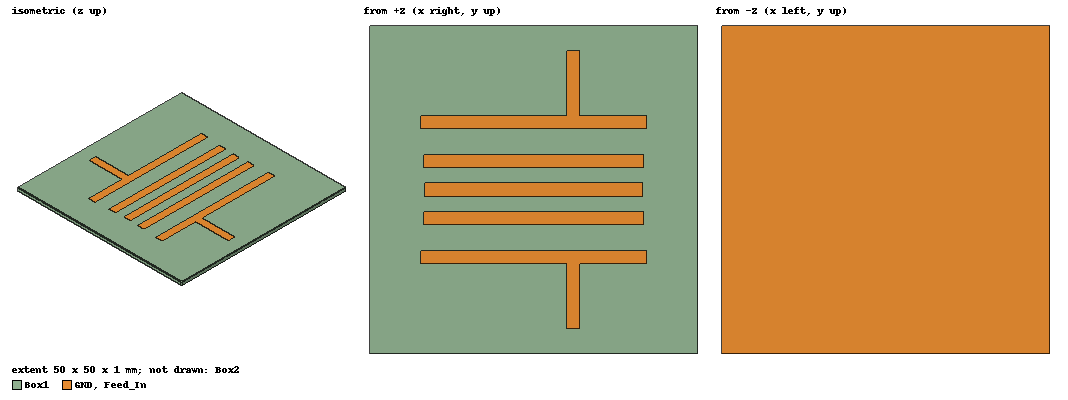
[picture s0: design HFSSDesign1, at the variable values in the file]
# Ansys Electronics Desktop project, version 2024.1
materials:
  vacuum: permittivity=1
  Material1_box: permittivity=2.6

design HFSSDesign1 (HFSS, HFSS Modal Network, model units mm)
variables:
  l1 = 34.396mm
  l2 = 33.681mm
  l3 = 33.311mm
  g1 = 3.893mm
  g2 = 2.341mm
  lq = 11.185mm
  w = 2mm
  sub_t = 1mm
  h = 1mm
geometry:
  Box1 [Material1_box] = box(corner=(-25mm, -25mm, -h), size=(50mm, 50mm, h))
  GND = rectangle(corner=(-25mm, -25mm, -h), x_size=50mm, y_size=50mm)
  Rec3 = rectangle(corner=(-l3/2, -w/2, 0mm), x_size=l3, y_size=w)
  Res2_Top = rectangle(corner=(-l2/2, w/2+g2, 0mm), x_size=l2, y_size=w)
  Res2_Bot = rectangle(corner=(-l2/2, -w/2-g2-w, 0mm), x_size=l2, y_size=w)
  Res_Top = rectangle(corner=(-l1/2, w/2+g2+w+g1, 0mm), x_size=l1, y_size=w)
  Res1_Bot = rectangle(corner=(-l1/2, -w/2-g2-w-g1-w, 0mm), x_size=l1, y_size=w)
  Feed_In = rectangle(corner=(l1/2-lq-w/2, w/2+g2+w+g1+w, 0mm), x_size=w, y_size=10mm)
  Feed_Out = rectangle(corner=(l1/2-lq-w/2, -w/2-g2-w-g1-w, 0mm), x_size=w, y_size=-10mm)
  Feed_In.unite(Feed_Out, Rec3, Res_Top, Res1_Bot, Res2_Bot, Res2_Top)
  Box2 [vacuum] = box(corner=(-30mm, -30mm, -20mm), size=(100mm, 100mm, 40mm))
  Rectangle1 = rectangle(corner=(l1/2-lq-w/2, w/2+g2+w+g1+w+10mm, 0mm), z_size=-h, x_size=w)
  Rectangle2 = rectangle(corner=(l1/2-lq-w/2, -w/2-g2-w-g1-w-10mm, 0mm), z_size=-h, x_size=w)
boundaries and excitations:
  GND: Perfect E Objects=GND
  PerfE1: Perfect E Objects=Feed_In
  Rad1: Radiation Objects=Box2
  1: Lumped Port Objects=Rectangle1 LumpedPortType=Modal Modes{Mode1{IntLine{(6.013, 21.234, -1) -> (6.013, 21.234, 0)} CharImp=Zpi RenormImp=50ohm}} Impedance=50ohm
  2: Lumped Port Objects=Rectangle2 LumpedPortType=Modal Modes{Mode1{IntLine{(6.013, -21.234, -1) -> (6.013, -21.234, 0)} CharImp=Zpi RenormImp=50ohm}} Impedance=50ohm
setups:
  Setup1: HfssDriven Frequency=3GHz MaxDeltaS=0.02 MaximumPasses=20 MinimumPasses=1 MinimumConvergedPasses=1 PercentRefinement=30 BasisOrder=1 PortAccuracy=2 DrivenSolverType="Direct Solver"
    sweep Sweep: 2.5GHz to 3.5GHz, 401 points; Type=Interpolating InterpTolerance=0.5 InterpMaxSolns=250 InterpUsePortImped=false PassivityErrorTolerance=0.0001
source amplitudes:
  1:1: 1W 0deg
  2:1: 0W 0deg
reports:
  S Parameter Plot 1: dB(S(1,1)), dB(S(2,1)), dB(S(1,2)), dB(S(2,2)) vs Freq on Setup1 : Sweep
